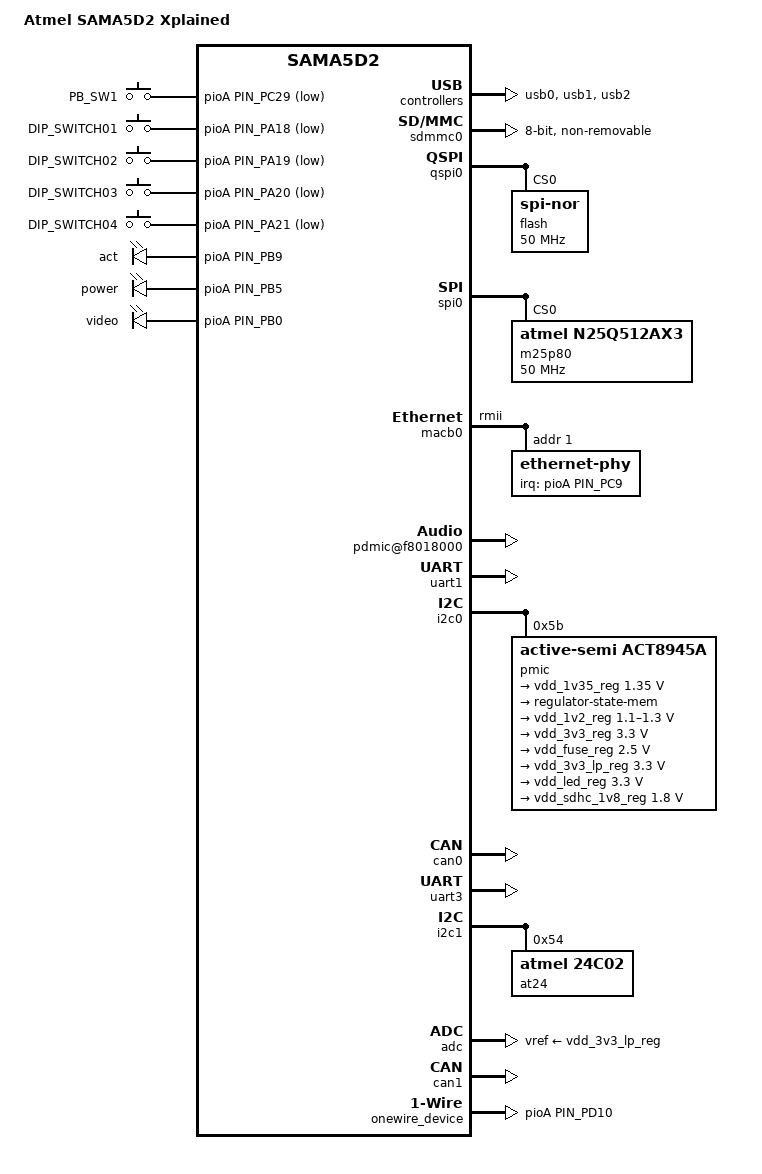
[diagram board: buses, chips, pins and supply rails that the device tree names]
/*
 * at91-sama5d2_xplained.dts - Device Tree file for SAMA5D2 Xplained board
 *
 *  Copyright (C) 2015 Atmel,
 *                2015 Nicolas Ferre <nicolas.ferre@atmel.com>
 *
 * This file is dual-licensed: you can use it either under the terms
 * of the GPL or the X11 license, at your option. Note that this dual
 * licensing only applies to this file, and not this project as a
 * whole.
 *
 *  a) This file is free software; you can redistribute it and/or
 *     modify it under the terms of the GNU General Public License as
 *     published by the Free Software Foundation; either version 2 of the
 *     License, or (at your option) any later version.
 *
 *     This file is distributed in the hope that it will be useful,
 *     but WITHOUT ANY WARRANTY; without even the implied warranty of
 *     MERCHANTABILITY or FITNESS FOR A PARTICULAR PURPOSE.  See the
 *     GNU General Public License for more details.
 *
 * Or, alternatively,
 *
 *  b) Permission is hereby granted, free of charge, to any person
 *     obtaining a copy of this software and associated documentation
 *     files (the "Software"), to deal in the Software without
 *     restriction, including without limitation the rights to use,
 *     copy, modify, merge, publish, distribute, sublicense, and/or
 *     sell copies of the Software, and to permit persons to whom the
 *     Software is furnished to do so, subject to the following
 *     conditions:
 *
 *     The above copyright notice and this permission notice shall be
 *     included in all copies or substantial portions of the Software.
 *
 *     THE SOFTWARE IS PROVIDED "AS IS", WITHOUT WARRANTY OF ANY KIND,
 *     EXPRESS OR IMPLIED, INCLUDING BUT NOT LIMITED TO THE WARRANTIES
 *     OF MERCHANTABILITY, FITNESS FOR A PARTICULAR PURPOSE AND
 *     NONINFRINGEMENT. IN NO EVENT SHALL THE AUTHORS OR COPYRIGHT
 *     HOLDERS BE LIABLE FOR ANY CLAIM, DAMAGES OR OTHER LIABILITY,
 *     WHETHER IN AN ACTION OF CONTRACT, TORT OR OTHERWISE, ARISING
 *     FROM, OUT OF OR IN CONNECTION WITH THE SOFTWARE OR THE USE OR
 *     OTHER DEALINGS IN THE SOFTWARE.
 */
/dts-v1/;
#include "sama5d2.dtsi"
#include "sama5d2-pinfunc.h"
#include <dt-bindings/mfd/atmel-flexcom.h>
#include <dt-bindings/gpio/gpio.h>

/ {
	model = "Atmel SAMA5D2 Xplained";
	compatible = "atmel,sama5d2-xplained", "atmel,sama5d2", "atmel,sama5";

	chosen {
		stdout-path = "serial0:115200n8";
	};

	clocks {
		slow_xtal {
			clock-frequency = <32768>;
		};

		main_xtal {
			clock-frequency = <12000000>;
		};
	};

	ahb {
		usb0: gadget@300000 {
			atmel,vbus-gpio = <&pioA PIN_PA31 GPIO_ACTIVE_HIGH>;
			pinctrl-names = "default";
			pinctrl-0 = <&pinctrl_usba_vbus>;
			status = "okay";
		};

		usb1: ohci@400000 {
			num-ports = <3>;
			atmel,vbus-gpio = <0 /* &pioA PIN_PB9 GPIO_ACTIVE_HIGH */
					   &pioA PIN_PB10 GPIO_ACTIVE_HIGH
					   0
					  >;
			pinctrl-names = "default";
			pinctrl-0 = <&pinctrl_usb_default>;
			status = "okay";
		};

		usb2: ehci@500000 {
			status = "okay";
		};

		sdmmc0: sdio-host@a0000000 {
			bus-width = <8>;
			pinctrl-names = "default";
			pinctrl-0 = <&pinctrl_sdmmc0_default>;
			non-removable;
			mmc-ddr-1_8v;
			status = "okay";
		};

		sdmmc1: sdio-host@b0000000 {
			bus-width = <4>;
			pinctrl-names = "default";
			pinctrl-0 = <&pinctrl_sdmmc1_default>;
			status = "disabled"; /* conflict with qspi0, Jack Lee */
			vqmmc-supply = <&vdd_3v3_reg>;
			vmmc-supply = <&vdd_3v3_reg>;
		};

		apb {
			pmc: pmc@f0014000 {
				pmc_fast_restart {
					compatible = "atmel,sama5d2-pmc-fast-startup";
					#address-cells = <1>;
					#size-cells = <0>;

					atmel,wakeup-rtc-timer;

					wkpin: input@0 {
						reg = <0>;
					};

					gmac_wol: input@10 {
						reg = <10>;
						atmel,wakeup-active-high;
					};
				};
			};

			qspi0: spi@f0020000 {
				pinctrl-names = "default";
				pinctrl-0 = <&pinctrl_qspi0_default>;
				status = "okay"; /* conflict with sdmmc1. Jack Lee */

				flash@0 {
					#address-cells = <1>;
					#size-cells = <1>;
					compatible = "jedec,spi-nor";
					#compatible = "micron,n25q256";
					reg = <0>;
					#spi-max-frequency = <83000000>;
					spi-max-frequency = <50000000>;
					m25p,fast-read;

					at91bootstrap@00000000 {
						label = "at91bootstrap";
						reg = <0x00000000 0x00010000>;
					};

					bootloaderenv@00010000 {
						label = "bootloader env";
						reg = <0x00010000 0x00010000>;
					};

					dtb@00020000 {
						label = "device tree";
						reg = <0x00020000 0x00010000>;
					};

					bootloader@00030000 {
						label = "bootloader";
						reg = <0x00030000 0x000A0000>;
					};

					reserved1@000d0000 {
						label = "reserved-1";
						reg = <0x000D0000 0x00030000>;
					};
					
					kernel@00100000 {
						label = "kernel";
						reg = <0x00100000 0x00400000>;
					};

					rootfs@00500000 {
						label = "rootfs";
						reg = <0x00500000 0x03700000>; /* 55 MB*/

					};

					data@03500000 {
						label = "data";
						reg = <0x03C00000 0x00400000>; /* 4 MB */

					};
				};
			};

			spi0: spi@f8000000 {
				pinctrl-names = "default";
				pinctrl-0 = <&pinctrl_spi0_default>;
				status = "okay";

				m25p80@0 { 
/*				spidev@0 {*/
					//compatible = "atmel,at25df321a";
					compatible = "atmel,n25q512ax3";
					reg = <0>;
					spi-max-frequency = <50000000>;
				};
			};

			macb0: ethernet@f8008000 {
				compatible = "atmel,sama5d2-gem"; /* added. JL. 06.02, 2019 */
				pinctrl-names = "default";
				pinctrl-0 = <&pinctrl_macb0_default &pinctrl_macb0_phy_irq>;
				phy-mode = "rmii";
				status = "okay";

				ethernet-phy@1 {
					reg = <0x1>;
					interrupt-parent = <&pioA>;
					interrupts = <PIN_PC9 IRQ_TYPE_LEVEL_LOW>;
				};
			};

			tcb0: timer@f800c000 {
				timer0: timer@0 {
					compatible = "atmel,tcb-timer";
					reg = <0>;
				};

				timer1: timer@1 {
					compatible = "atmel,tcb-timer";
					reg = <1>;
				};
			};

			pdmic@f8018000 {
				pinctrl-names = "default";
				pinctrl-0 = <&pinctrl_pdmic_default>;
				atmel,model = "PDMIC @ sama5d2_xplained";
				atmel,mic-min-freq = <1000000>;
				atmel,mic-max-freq = <3246000>;
				atmel,mic-offset = <0x0>;
				status = "okay";
			};

			uart1: serial@f8020000 {
				pinctrl-names = "default";
				pinctrl-0 = <&pinctrl_uart1_default>;
				atmel,use-dma-rx;
				atmel,use-dma-tx;
				status = "okay";
			};

			i2c0: i2c@f8028000 {
				dmas = <0>, <0>;
				pinctrl-names = "default";
				pinctrl-0 = <&pinctrl_i2c0_default>;
				i2c-sda-hold-time-ns = <350>;
				status = "okay";

				pmic@5b {
					compatible = "active-semi,act8945a";
					reg = <0x5b>;
					active-semi,vsel-high;
					status = "okay";

					regulators {
						vdd_1v35_reg: REG_DCDC1 {
							regulator-name = "VDD_1V35";
							regulator-min-microvolt = <1350000>;
							regulator-max-microvolt = <1350000>;
							regulator-always-on;

							regulator-state-mem {
								regulator-on-in-suspend;
								regulator-suspend-microvolt = <1400000>;
								/* Power saving mode. */
								regulator-mode = <0>;
								regulator-allow-changes-at-runtime;
							};
						};

						vdd_1v2_reg: REG_DCDC2 {
							regulator-name = "VDD_1V2";
							regulator-min-microvolt = <1100000>;
							regulator-max-microvolt = <1300000>;
							regulator-always-on;

							regulator-state-mem {
								regulator-off-in-suspend;
							};
						};

						vdd_3v3_reg: REG_DCDC3 {
							regulator-name = "VDD_3V3";
							regulator-min-microvolt = <3300000>;
							regulator-max-microvolt = <3300000>;
							regulator-always-on;

							regulator-state-mem {
								regulator-off-in-suspend;
							};
						};

						vdd_fuse_reg: REG_LDO1 {
							regulator-name = "VDD_FUSE";
							regulator-min-microvolt = <2500000>;
							regulator-max-microvolt = <2500000>;
							regulator-always-on;

							regulator-state-mem {
								regulator-off-in-suspend;
							};
						};

						vdd_3v3_lp_reg: REG_LDO2 {
							regulator-name = "VDD_3V3_LP";
							regulator-min-microvolt = <3300000>;
							regulator-max-microvolt = <3300000>;
							regulator-always-on;

							regulator-state-mem {
								regulator-off-in-suspend;
							};
						};

						vdd_led_reg: REG_LDO3 {
							regulator-name = "VDD_LED";
							regulator-min-microvolt = <3300000>;
							regulator-max-microvolt = <3300000>;
							regulator-always-on;

							regulator-state-mem {
								regulator-off-in-suspend;
							};
						};

						vdd_sdhc_1v8_reg: REG_LDO4 {
							regulator-name = "VDD_SDHC_1V8";
							regulator-min-microvolt = <1800000>;
							regulator-max-microvolt = <1800000>;
							regulator-always-on;

							regulator-state-mem {
								regulator-off-in-suspend;
							};
						};
					};

					charger {
						compatible = "active-semi,act8945a-charger";
						pinctrl-names = "default";
						pinctrl-0 = <&pinctrl_charger_chglev &pinctrl_charger_lbo &pinctrl_charger_irq>;
						interrupt-parent = <&pioA>;
						interrupts = <PIN_PB13 GPIO_ACTIVE_LOW>;

						active-semi,chglev-gpios = <&pioA PIN_PA12 GPIO_ACTIVE_HIGH>;
						active-semi,lbo-gpios = <&pioA PIN_PC8 GPIO_ACTIVE_LOW>;
						active-semi,input-voltage-threshold-microvolt = <6600>;
						active-semi,precondition-timeout = <40>;
						active-semi,total-timeout = <3>;
						status = "disabled";
					};
				};
			};

			pwm0: pwm@f802c000 {
				pinctrl-names = "default";
				pinctrl-0 = <&pinctrl_pwm0_pwm2_default>;
				status = "disabled"; /* conflict with leds */
			};

			flx0: flexcom@f8034000 {
				atmel,flexcom-mode = <ATMEL_FLEXCOM_MODE_USART>;
				status = "disabled"; /* conflict with ISC_D2 & ISC_D3 data pins */

				uart5: serial@200 {
					compatible = "atmel,at91sam9260-usart";
					reg = <0x200 0x200>;
					interrupts = <19 IRQ_TYPE_LEVEL_HIGH 7>;
					clocks = <&flx0_clk>;
					clock-names = "usart";
					pinctrl-names = "default";
					pinctrl-0 = <&pinctrl_flx0_default>;
					atmel,fifo-size = <32>;
					status = "okay";
				};
			};

			shdwc@f8048010 {
				atmel,shdwc-debouncer = <976>;
				atmel,wakeup-rtc-timer;

				input@0 {
					reg = <0>;
					atmel,wakeup-type = "low";
				};
			};

			watchdog@f8048040 {
				status = "okay";
			};

			i2s0: i2s@f8050000 {
				pinctrl-names = "default";
				pinctrl-0 = <&pinctrl_i2s0_default>;
				status = "disabled"; /* conflict with can0 */
			};

			can0: can@f8054000 {
				pinctrl-names = "default";
				pinctrl-0 = <&pinctrl_can0_default>;
				status = "okay";
			};

			uart3: serial@fc008000 {
				atmel,use-dma-rx;
				atmel,use-dma-tx;
				pinctrl-names = "default";
				pinctrl-0 = <&pinctrl_uart3_default>;
				status = "okay";
			};

			/* 
			flx4: flexcom@fc018000 {
				atmel,flexcom-mode = <ATMEL_FLEXCOM_MODE_TWI>;
				status = "okay";

				i2c2: i2c@600 {
					compatible = "atmel,sama5d2-i2c";
					reg = <0x600 0x200>;
					interrupts = <23 IRQ_TYPE_LEVEL_HIGH 7>;
					dmas = <0>, <0>;
					dma-names = "tx", "rx";
					#address-cells = <1>;
					#size-cells = <0>;
					clocks = <&flx4_clk>;
					pinctrl-names = "default";
					pinctrl-0 = <&pinctrl_flx4_default>;
					atmel,fifo-size = <16>;
					status = "okay";
				};
			};
			*/

			i2c1: i2c@fc028000 {
				dmas = <0>, <0>;
				pinctrl-names = "default";
				pinctrl-0 = <&pinctrl_i2c1_default>;
				status = "okay";

				at24@54 {
					compatible = "atmel,24c02";
					reg = <0x54>;
					pagesize = <16>;
				};
			};

			adc: adc@fc030000 {
				vddana-supply = <&vdd_3v3_lp_reg>;
				vref-supply = <&vdd_3v3_lp_reg>;
				pinctrl-names = "default";
				pinctrl-0 = <&pinctrl_adc_default &pinctrl_adtrg_default>;
				status = "okay";
			};

			pinctrl@fc038000 {
				/*
				 * There is no real pinmux for ADC, if the pin
				 * is not requested by another peripheral then
				 * the muxing is done when channel is enabled.
				 * Requesting pins for ADC is GPIO is
				 * encouraged to prevent conflicts and to
				 * disable bias in order to be in the same
				 * state when the pin is not muxed to the adc.
				 */
				pinctrl_adc_default: adc_default {
					pinmux = <PIN_PD23__GPIO>;
					bias-disable;
				};

				pinctrl_can0_default: can0_default {
					pinmux = <PIN_PC10__CANTX0>,
						 <PIN_PC11__CANRX0>;
					bias-disable;
				};

				pinctrl_can1_default: can1_default {
					pinmux = <PIN_PC26__CANTX1>,
						 <PIN_PC27__CANRX1>;
					bias-disable;
				};

				/*
				 * The ADTRG pin can work on any edge type.
				 * In here it's being pulled up, so need to
				 * connect it to ground to get an edge e.g.
				 * Trigger can be configured on falling, rise
				 * or any edge, and the pull-up can be changed
				 * to pull-down or left floating according to
				 * needs.
				 */
				pinctrl_adtrg_default: adtrg_default {
					pinmux = <PIN_PD31__ADTRG>;
					bias-pull-up;
				};

				pinctrl_charger_chglev: charger_chglev {
					pinmux = <PIN_PA12__GPIO>;
					bias-disable;
				};

				pinctrl_charger_irq: charger_irq {
					pinmux = <PIN_PB13__GPIO>;
					bias-disable;
				};

				pinctrl_charger_lbo: charger_lbo {
					pinmux = <PIN_PC8__GPIO>;
					bias-pull-up;
				};

				pinctrl_classd_default: classd_default {
					pinmux = <PIN_PB1__CLASSD_R0>,
						 <PIN_PB2__CLASSD_R1>,
						 <PIN_PB3__CLASSD_R2>,
						 <PIN_PB4__CLASSD_R3>;
					bias-pull-up;
				};

				pinctrl_flx0_default: flx0_default {
					pinmux = <PIN_PB28__FLEXCOM0_IO0>,
						 <PIN_PB29__FLEXCOM0_IO1>;
					bias-disable;
				};

				pinctrl_flx4_default: flx4_default {
					pinmux = <PIN_PD12__FLEXCOM4_IO0>,
						 <PIN_PD13__FLEXCOM4_IO1>;
					bias-disable;
				};

				pinctrl_i2c0_default: i2c0_default {
					pinmux = <PIN_PD29__TWD0>, /* from PD21 --> PD29 JL */
						 <PIN_PD30__TWCK0>; /* from PD22 --> PD30 JL */
					bias-disable;
				};

				pinctrl_i2c1_default: i2c1_default {
					pinmux = <PIN_PD4__TWD1>,
						 <PIN_PD5__TWCK1>;
					bias-disable;
				};

				pinctrl_i2s0_default: i2s0_default {
					pinmux = <PIN_PC1__I2SC0_CK>,
						 <PIN_PC2__I2SC0_MCK>,
						 <PIN_PC3__I2SC0_WS>,
						 <PIN_PC4__I2SC0_DI0>,
						 <PIN_PC5__I2SC0_DO0>;
					bias-disable;
				};

				pinctrl_i2s1_default: i2s1_default {
					pinmux = <PIN_PA15__I2SC1_CK>,
						 <PIN_PA14__I2SC1_MCK>,
						 <PIN_PA16__I2SC1_WS>,
						 <PIN_PA17__I2SC1_DI0>,
						 <PIN_PA18__I2SC1_DO0>;
					bias-disable;
				};

				pinctrl_key_gpio_default: key_gpio_default {
					/* Mux774 changed as following */
					// pinmux = <PIN_PB9__GPIO>;
					pinmux = <PIN_PC29__GPIO>;	/* SW1 on 774 */
					bias-pull-up;
				};

				/* switches for 744. JL. 05.23, 2019 */
				pinctrl_switch_gpio_default: switch_gpio_default {
					pinmux = <PIN_PA18__GPIO>,
						<PIN_PA19__GPIO>,
						<PIN_PA20__GPIO>,
						<PIN_PA21__GPIO>;
					bias-pull-up;
				};

				pinctrl_led_gpio_default: led_gpio_default {
					pinmux = <PIN_PB0__GPIO>,	/* VIDEO */
						 <PIN_PB5__GPIO>,	/* POWER */
						 /* Mux774 */
						 // <PIN_PB6__GPIO>;
						 <PIN_PB9__GPIO>; /* ACT on 774 */
					bias-pull-up;
				};

				pinctrl_w1_gpio_default: w1_gpio_default {
					/* Mux774 changed as following */
					pinmux = <PIN_PD10__GPIO>;	/* SW1 on 774 */
					bias-pull-up;
				};
				
				
				pinctrl_macb0_default: macb0_default {
					pinmux = <PIN_PB14__GTXCK>,
						 <PIN_PB15__GTXEN>,
						 <PIN_PB16__GRXDV>,
						 <PIN_PB17__GRXER>,
						 <PIN_PB18__GRX0>,
						 <PIN_PB19__GRX1>,
						 <PIN_PB20__GTX0>,
						 <PIN_PB21__GTX1>,
						 <PIN_PB22__GMDC>,
						 <PIN_PB23__GMDIO>;
					bias-disable;
				};

				pinctrl_macb0_phy_irq: macb0_phy_irq {
					pinmux = <PIN_PC9__GPIO>;
					bias-disable;
				};

				pinctrl_pdmic_default: pdmic_default {
					pinmux = <PIN_PB26__PDMIC_DAT>,
						<PIN_PB27__PDMIC_CLK>;
					bias-disable;
				};

				pinctrl_qspi0_default: qspi0_default {
					sck_cs {
						pinmux = <PIN_PA22__QSPI0_SCK>,
							 <PIN_PA23__QSPI0_CS>;
						bias-disable;
					};

					data {
						pinmux = <PIN_PA24__QSPI0_IO0>,
							 <PIN_PA25__QSPI0_IO1>,
							 <PIN_PA26__QSPI0_IO2>,
							 <PIN_PA27__QSPI0_IO3>;
						bias-pull-up;
					};
				};

				pinctrl_sdmmc0_default: sdmmc0_default {
					cmd_data {
						pinmux = <PIN_PA1__SDMMC0_CMD>,
							 <PIN_PA2__SDMMC0_DAT0>,
							 <PIN_PA3__SDMMC0_DAT1>,
							 <PIN_PA4__SDMMC0_DAT2>,
							 <PIN_PA5__SDMMC0_DAT3>,
							 <PIN_PA6__SDMMC0_DAT4>,
							 <PIN_PA7__SDMMC0_DAT5>,
							 <PIN_PA8__SDMMC0_DAT6>,
							 <PIN_PA9__SDMMC0_DAT7>;
						bias-disable;
					};

					ck_cd_rstn_vddsel {
						pinmux = <PIN_PA0__SDMMC0_CK>,
							 <PIN_PA10__SDMMC0_RSTN>,
							 <PIN_PA11__SDMMC0_VDDSEL>,
							 <PIN_PA13__SDMMC0_CD>;
						bias-disable;
					};
				};

				pinctrl_sdmmc1_default: sdmmc1_default {
					cmd_data {
						pinmux = <PIN_PA28__SDMMC1_CMD>,
							 <PIN_PA18__SDMMC1_DAT0>,
							 <PIN_PA19__SDMMC1_DAT1>,
							 <PIN_PA20__SDMMC1_DAT2>,
							 <PIN_PA21__SDMMC1_DAT3>;
						bias-disable;
					};

					conf-ck_cd {
						pinmux = <PIN_PA22__SDMMC1_CK>,
							 <PIN_PA30__SDMMC1_CD>;
						bias-disable;
					};
				};

				pinctrl_spi0_default: spi0_default {
					pinmux = <PIN_PA14__SPI0_SPCK>,
						 <PIN_PA15__SPI0_MOSI>,
						 <PIN_PA16__SPI0_MISO>,
						 <PIN_PA17__SPI0_NPCS0>;
					bias-disable;
				};

				pinctrl_uart1_default: uart1_default {
					pinmux = <PIN_PD2__URXD1>,
						 <PIN_PD3__UTXD1>;
					bias-disable;
				};

				pinctrl_uart3_default: uart3_default {
					pinmux = <PIN_PB11__URXD3>,
						 <PIN_PB12__UTXD3>;
					bias-disable;
				};

				pinctrl_usb_default: usb_default {
					pinmux = <PIN_PB10__GPIO>;
					bias-disable;
				};

				pinctrl_usba_vbus: usba_vbus {
					pinmux = <PIN_PA31__GPIO>;
					bias-disable;
				};

				pinctrl_pwm0_pwm2_default: pwm0_pwm2_default {
					pinmux = <PIN_PB5__PWMH2>,
						 <PIN_PB6__PWML2>;
					bias-pull-up;
				};
			};

			classd: classd@fc048000 {
				pinctrl-names = "default";
				pinctrl-0 = <&pinctrl_classd_default>;
				atmel,pwm-type = "diff";
				atmel,non-overlap-time = <10>;
				status = "okay";
			};

			i2s1: i2s@fc04c000 {
				pinctrl-names = "default";
				pinctrl-0 = <&pinctrl_i2s1_default>;
				status = "disabled"; /* conflict with spi0, sdmmc1 */
			};

			can1: can@fc050000 {
				pinctrl-names = "default";
				pinctrl-0 = <&pinctrl_can1_default>;
				status = "okay";
			};
		};
	};

	MUX_SW1 {
		compatible = "gpio-keys";

		pinctrl-names = "default";
		pinctrl-0 = <&pinctrl_key_gpio_default>;

		sw1 {
			label = "PB_SW1";
			gpios = <&pioA PIN_PC29 GPIO_ACTIVE_LOW>;
			linux,code = <108>;		/* KEY_DOWN, uapi/linux/input-event-codes.h */
			wakeup-source;
		};
		
	};

	MUX_DIP_SWITCH {
		compatible = "gpio-keys";

		pinctrl-names = "default";
		pinctrl-0 = <&pinctrl_switch_gpio_default>;
		
		dipSwitch01 {
			label = "DIP_SWITCH01";
			gpios = <&pioA PIN_PA18 GPIO_ACTIVE_LOW>;
			linux,code = <0>;	/* SW_LID */
			linux,input-type = <5>;	/* EV_SW */
			wakeup-source;
		};
		
		dipSwitch02 {
			label = "DIP_SWITCH02";
			gpios = <&pioA PIN_PA19 GPIO_ACTIVE_LOW>;
			linux,code = <1>;	/* SW_TABLET_MODE */
			linux,input-type = <5>;	/* EV_SW */
			wakeup-source;
		};
		
		dipSwitch03 {
			label = "DIP_SWITCH03";
			gpios = <&pioA PIN_PA20 GPIO_ACTIVE_LOW>;
			linux,code = <2>;	/* SW_HEADPHONE_INSERT */
			linux,input-type = <5>;	/* EV_SW */
			wakeup-source;
		};

		dipSwitch04 {
			label = "DIP_SWITCH04";
			gpios = <&pioA PIN_PA21 GPIO_ACTIVE_LOW>;
			linux,code = <3>;	/* SW_RFKILL_ALL */
			linux,input-type = <5>;	/* EV_SW */
			wakeup-source;
		};
	};

	
	MUX_LEDS {
		compatible = "gpio-leds";
		pinctrl-names = "default";
		pinctrl-0 = <&pinctrl_led_gpio_default>;
		status = "okay"; /* conflict with pwm0 */

		act {
			label = "act";
			gpios = <&pioA PIN_PB9 GPIO_ACTIVE_HIGH>; /* high level is ON; default is OFF, eg. level is low */
		};


		power {
			label = "power";
			gpios = <&pioA PIN_PB5 GPIO_ACTIVE_HIGH>; /* high level is ON */
			default-state = "on";	/* default ON */
		};

		video {
			label = "video";
			gpios = <&pioA PIN_PB0 GPIO_ACTIVE_HIGH>; /* high level is ON */
			linux,default-trigger = "";		/* trigger : heartbeat|timer */
		};
	};
	
	onewire_device {
		compatible = "w1-gpio";
		pinctrl-names = "default";
		pinctrl-0 = <&pinctrl_w1_gpio_default>;
		//linux,open-drain;
		gpios = <&pioA PIN_PD10 GPIO_ACTIVE_HIGH>; /*  */
		
	};
};
